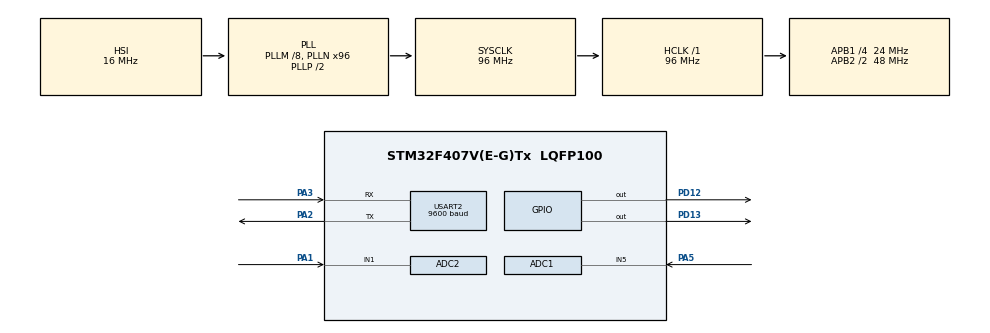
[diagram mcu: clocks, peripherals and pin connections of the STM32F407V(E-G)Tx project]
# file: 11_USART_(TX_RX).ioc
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ADC1.Channel-0\#ChannelRegularConversion=ADC_CHANNEL_VREFINT
ADC1.Channel-1\#ChannelRegularConversion=ADC_CHANNEL_5
ADC1.Channel-2\#ChannelRegularConversion=ADC_CHANNEL_TEMPSENSOR
ADC1.ContinuousConvMode=ENABLE
ADC1.DMAContinuousRequests=ENABLE
ADC1.NbrOfConversion=3
ADC1.NbrOfConversionFlag=1
ADC1.Rank-0\#ChannelRegularConversion=1
ADC1.Rank-1\#ChannelRegularConversion=2
ADC1.Rank-2\#ChannelRegularConversion=3
ADC1.SamplingTime-0\#ChannelRegularConversion=ADC_SAMPLETIME_480CYCLES
ADC1.SamplingTime-1\#ChannelRegularConversion=ADC_SAMPLETIME_480CYCLES
ADC1.SamplingTime-2\#ChannelRegularConversion=ADC_SAMPLETIME_480CYCLES
ADC1.ScanConvMode=ENABLE
ADC1.master=1
ADC2.Channel-0\#ChannelRegularConversion=ADC_CHANNEL_1
ADC2.ContinuousConvMode=ENABLE
ADC2.DMAContinuousRequests=ENABLE
ADC2.NbrOfConversionFlag=1
ADC2.Rank-0\#ChannelRegularConversion=1
ADC2.SamplingTime-0\#ChannelRegularConversion=ADC_SAMPLETIME_480CYCLES
Dma.ADC1.0.Direction=DMA_PERIPH_TO_MEMORY
Dma.ADC1.0.FIFOMode=DMA_FIFOMODE_DISABLE
Dma.ADC1.0.Instance=DMA2_Stream0
Dma.ADC1.0.MemDataAlignment=DMA_MDATAALIGN_HALFWORD
Dma.ADC1.0.MemInc=DMA_MINC_ENABLE
Dma.ADC1.0.Mode=DMA_CIRCULAR
Dma.ADC1.0.PeriphDataAlignment=DMA_PDATAALIGN_HALFWORD
Dma.ADC1.0.PeriphInc=DMA_PINC_DISABLE
Dma.ADC1.0.Priority=DMA_PRIORITY_LOW
Dma.ADC2.1.Direction=DMA_PERIPH_TO_MEMORY
Dma.ADC2.1.FIFOMode=DMA_FIFOMODE_DISABLE
Dma.ADC2.1.Instance=DMA2_Stream2
Dma.ADC2.1.MemDataAlignment=DMA_MDATAALIGN_HALFWORD
Dma.ADC2.1.MemInc=DMA_MINC_ENABLE
Dma.ADC2.1.Mode=DMA_CIRCULAR
Dma.ADC2.1.PeriphDataAlignment=DMA_PDATAALIGN_HALFWORD
Dma.ADC2.1.PeriphInc=DMA_PINC_DISABLE
Dma.ADC2.1.Priority=DMA_PRIORITY_LOW
Dma.Request0=ADC1
Dma.Request1=ADC2
Mcu.Family=STM32F4
Mcu.Name=STM32F407V(E-G)Tx
Mcu.Package=LQFP100
NVIC.DMA2_Stream0_IRQn=true\:0\:0\:false\:false\:true\:false
NVIC.DMA2_Stream2_IRQn=true\:0\:0\:false\:false\:true\:false
NVIC.PriorityGroup=NVIC_PRIORITYGROUP_4
NVIC.USART2_IRQn=true\:0\:0\:false\:false\:true\:true
PA1.Signal=ADCx_IN1
PA13.Mode=Serial_Wire
PA13.Signal=SYS_JTMS-SWDIO
PA14.Mode=Serial_Wire
PA14.Signal=SYS_JTCK-SWCLK
PA2.Mode=Asynchronous
PA2.Signal=USART2_TX
PA3.Mode=Asynchronous
PA3.Signal=USART2_RX
PA5.Signal=ADCx_IN5
PD12.Signal=GPIO_Output
PD13.Signal=GPIO_Output
ProjectManager.HeapSize=0x200
ProjectManager.StackSize=0x400
ProjectManager.TargetToolchain=MDK-ARM V5
RCC.48MHZClocksFreq_Value=48000000
RCC.AHBFreq_Value=96000000
RCC.APB1CLKDivider=RCC_HCLK_DIV4
RCC.APB1Freq_Value=24000000
RCC.APB1TimFreq_Value=48000000
RCC.APB2CLKDivider=RCC_HCLK_DIV2
RCC.APB2Freq_Value=48000000
RCC.APB2TimFreq_Value=96000000
RCC.CortexFreq_Value=96000000
RCC.HCLKFreq_Value=96000000
RCC.HSE_VALUE=25000000
RCC.HSI_VALUE=16000000
RCC.LSE_VALUE=32768
RCC.PLLM=8
RCC.PLLN=96
RCC.SYSCLKFreq_VALUE=96000000
RCC.SYSCLKSource=RCC_SYSCLKSOURCE_PLLCLK
RCC.VCOOutputFreq_Value=192000000
SH.ADCx_IN1.0=ADC2_IN1,IN1
SH.ADCx_IN5.0=ADC1_IN5,IN5
USART2.BaudRate=9600
USART2.VirtualMode=VM_ASYNC
VP_ADC1_TempSens_Input.Mode=IN-TempSens
VP_ADC1_Vref_Input.Mode=IN-Vrefint
board=11_USART_(TX_RX)

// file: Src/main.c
/**
  ******************************************************************************
  * File Name          : main.c
  * Description        : Main program body
  ******************************************************************************
  ** This notice applies to any and all portions of this file
  * that are not between comment pairs USER CODE BEGIN and
  * USER CODE END. Other portions of this file, whether
  * inserted by the user or by software development tools
  * are owned by their respective copyright owners.
  *
  * COPYRIGHT(c) 2018 STMicroelectronics
  *
  * Redistribution and use in source and binary forms, with or without modification,
  * are permitted provided that the following conditions are met:
  *   1. Redistributions of source code must retain the above copyright notice,
  *      this list of conditions and the following disclaimer.
  *   2. Redistributions in binary form must reproduce the above copyright notice,
  *      this list of conditions and the following disclaimer in the documentation
  *      and/or other materials provided with the distribution.
  *   3. Neither the name of STMicroelectronics nor the names of its contributors
  *      may be used to endorse or promote products derived from this software
  *      without specific prior written permission.
  *
  * THIS SOFTWARE IS PROVIDED BY THE COPYRIGHT HOLDERS AND CONTRIBUTORS "AS IS"
  * AND ANY EXPRESS OR IMPLIED WARRANTIES, INCLUDING, BUT NOT LIMITED TO, THE
  * IMPLIED WARRANTIES OF MERCHANTABILITY AND FITNESS FOR A PARTICULAR PURPOSE ARE
  * DISCLAIMED. IN NO EVENT SHALL THE COPYRIGHT HOLDER OR CONTRIBUTORS BE LIABLE
  * FOR ANY DIRECT, INDIRECT, INCIDENTAL, SPECIAL, EXEMPLARY, OR CONSEQUENTIAL
  * DAMAGES (INCLUDING, BUT NOT LIMITED TO, PROCUREMENT OF SUBSTITUTE GOODS OR
  * SERVICES; LOSS OF USE, DATA, OR PROFITS; OR BUSINESS INTERRUPTION) HOWEVER
  * CAUSED AND ON ANY THEORY OF LIABILITY, WHETHER IN CONTRACT, STRICT LIABILITY,
  * OR TORT (INCLUDING NEGLIGENCE OR OTHERWISE) ARISING IN ANY WAY OUT OF THE USE
  * OF THIS SOFTWARE, EVEN IF ADVISED OF THE POSSIBILITY OF SUCH DAMAGE.
  *
  ******************************************************************************
  */
#include "main.h"
#include "stm32f4xx_hal.h"
#include "stdio.h"            // bunuda ekledik ve neden ?
/* USER CODE BEGIN Includes */
// ADC KISMI:

#define VREFIN_Cal ((uint16_t*)((uint32_t)0x1FFF7A2A)) // Vrefin calibration degeri memoriden okunur
#define V25 (float)0.76     // volt
#define avg_slope (float) 0.0025   //    volt/Centigrade

uint16_t adc1_data[3],adc2_data[1];

float Vref=0,Vadc1_ch5=0,Vsense=0, temperature=0,Vadc2_ch1=0;

/* USER CODE END Includes */

ADC_HandleTypeDef hadc1;
ADC_HandleTypeDef hadc2;
DMA_HandleTypeDef hdma_adc1;
DMA_HandleTypeDef hdma_adc2;

UART_HandleTypeDef huart2;

/* USER CODE BEGIN PV */
/* Private variables ---------------------------------------------------------*/

/* USER CODE END PV */

void SystemClock_Config(void);
static void MX_GPIO_Init(void);
static void MX_DMA_Init(void);
static void MX_ADC1_Init(void);
static void MX_ADC2_Init(void);
static void MX_USART2_UART_Init(void);

/* USER CODE BEGIN PFP */
/* Private function prototypes -----------------------------------------------*/

// STM32 için printf ayari:   --bunu yazmamiz gerek dedi.....
 // bunu yazip printf ile uart i kullanip verileri gönderebiliyoruz..
 #ifdef __GNUC__

 #define PUTCHAR_PROTOTYPE int __io_putchar(int ch)
 #else
 #define PUTCHAR_PROTOTYPE int fputc(int ch,FILE *f)
 #endif /* __GNUC__ */
 /**
 * @brief Retargets the C library printf func. to the USART
 * @param None
 * @retval None
 */
 PUTCHAR_PROTOTYPE
 {
	/* Place your implementation of fputc here */
 /* e.g. write a character to the USART */

	 // hangisi kullanilacak ise o aktif edilir :
 HAL_UART_Transmit(&huart2,(uint8_t*)&ch,1,1000); // alttaki interrupt ile idi . bu normal mod
//   HAL_UART_Transmit_IT(&huart2,(uint8_t*)&ch,1);   // IT aktif suan
//	 HAL_Delay(10);  // bunu kullandik simdi normal modu kullanicaz
	 //  ch: 8 bitlik data  , 1 olmasi ise: 1 er 1er alip döndürüyor
	 //karakterleri birer birer alip okuyacak
	 // size 1

	 return ch;

 }

 // Yukardaki kodu aktif edince printf aktif oldu...........

 // ADC için :

 void HAL_ADC_ConvCpltCallback(ADC_HandleTypeDef* hadc)
 {
		Vref=(float)3.3*(*VREFIN_Cal)/adc1_data[0];
	  Vadc1_ch5=Vref*adc1_data[1]/4095;
	  Vsense=Vref*adc1_data[2]/4095;
    Vadc2_ch1=Vref*adc2_data[0]/4095;

		temperature=(Vsense-V25)/avg_slope+25;

 }

 // uart Tx Kismi :

 // Herbir data iletildiginde Pin toggle olucak :) intterpt ile :)
 //  tx complete call back ine dallaniyor
 // normal mod da yok :=>
// void HAL_UART_TxCpltCallback(UART_HandleTypeDef *huart)
// {
//  if (huart->Instance==USART2)
//		HAL_GPIO_TogglePin(GPIOD,GPIO_PIN_12);

// }

//  void HAL_UART_RxCpltCallback(UART_HandleTypeDef *huart)
//  {
//
//  if( __HAL_UART_GET_FLAG(&huart2, UART_FLAG_TC)!=RESET )
//	{
//			// __HAL_UART_CLEAR_FLAG(&huart2,UART_FLAG_TC);
//
//		HAL_GPIO_TogglePin(GPIOD,GPIO_PIN_13);
//	}
//
//
// }

/* USER CODE END PFP */

int main(void)
{

  /* MCU Configuration----------------------------------------------------------*/

  /* Reset of all peripherals, Initializes the Flash interface and the Systick. */
  HAL_Init();

  /* Configure the system clock */
  SystemClock_Config();

  /* Initialize all configured peripherals */
  MX_GPIO_Init();
  MX_DMA_Init();
  MX_ADC1_Init();
  MX_ADC2_Init();
  MX_USART2_UART_Init();

  /* USER CODE BEGIN 2 */
HAL_ADC_Start_DMA(&hadc1,(uint32_t*)adc1_data,3); // start ettik.
HAL_ADC_Start_DMA(&hadc2,(uint32_t*)adc2_data,1);

  /* USER CODE END 2 */
printf(""); // yukardaki kod ile printf aktif oldu . onun ile gönderebiliyoruz verileri.
printf("\nVref\r\t"); // printf ile veriler gönderiliyor..
printf("Vadc1\r\t");
printf("Vadc2\r\t");
printf("Vsense\r\t");
printf("Temp\r\t\n");

  /* Infinite loop */
  while (1)
  {

		printf("%4.2f\r\t",Vref);
		printf("%4.2f\r\t",Vadc1_ch5);
		printf("%4.2f\r\t",Vadc2_ch1);
		printf("%4.2f\r\t",Vsense);
		printf("%4.2f\r\t\n",temperature);
		HAL_Delay(1000);

  }

}

/** System Clock Configuration
*/
void SystemClock_Config(void)
{

  RCC_OscInitTypeDef RCC_OscInitStruct;
  RCC_ClkInitTypeDef RCC_ClkInitStruct;

    /**Configure the main internal regulator output voltage
    */
  __HAL_RCC_PWR_CLK_ENABLE();

  __HAL_PWR_VOLTAGESCALING_CONFIG(PWR_REGULATOR_VOLTAGE_SCALE1);

    /**Initializes the CPU, AHB and APB busses clocks
    */
  RCC_OscInitStruct.OscillatorType = RCC_OSCILLATORTYPE_HSI;
  RCC_OscInitStruct.HSIState = RCC_HSI_ON;
  RCC_OscInitStruct.HSICalibrationValue = 16;
  RCC_OscInitStruct.PLL.PLLState = RCC_PLL_ON;
  RCC_OscInitStruct.PLL.PLLSource = RCC_PLLSOURCE_HSI;
  RCC_OscInitStruct.PLL.PLLM = 8;
  RCC_OscInitStruct.PLL.PLLN = 96;
  RCC_OscInitStruct.PLL.PLLP = RCC_PLLP_DIV2;
  RCC_OscInitStruct.PLL.PLLQ = 4;
  if (HAL_RCC_OscConfig(&RCC_OscInitStruct) != HAL_OK)
  {
    _Error_Handler(__FILE__, __LINE__);
  }

    /**Initializes the CPU, AHB and APB busses clocks
    */
  RCC_ClkInitStruct.ClockType = RCC_CLOCKTYPE_HCLK|RCC_CLOCKTYPE_SYSCLK
                              |RCC_CLOCKTYPE_PCLK1|RCC_CLOCKTYPE_PCLK2;
  RCC_ClkInitStruct.SYSCLKSource = RCC_SYSCLKSOURCE_PLLCLK;
  RCC_ClkInitStruct.AHBCLKDivider = RCC_SYSCLK_DIV1;
  RCC_ClkInitStruct.APB1CLKDivider = RCC_HCLK_DIV4;
  RCC_ClkInitStruct.APB2CLKDivider = RCC_HCLK_DIV2;

  if (HAL_RCC_ClockConfig(&RCC_ClkInitStruct, FLASH_LATENCY_3) != HAL_OK)
  {
    _Error_Handler(__FILE__, __LINE__);
  }

    /**Configure the Systick interrupt time
    */
  HAL_SYSTICK_Config(HAL_RCC_GetHCLKFreq()/1000);

    /**Configure the Systick
    */
  HAL_SYSTICK_CLKSourceConfig(SYSTICK_CLKSOURCE_HCLK);

  /* SysTick_IRQn interrupt configuration */
  HAL_NVIC_SetPriority(SysTick_IRQn, 0, 0);
}

/* ADC1 init function */
static void MX_ADC1_Init(void)
{

  ADC_ChannelConfTypeDef sConfig;

    /**Configure the global features of the ADC (Clock, Resolution, Data Alignment and number of conversion)
    */
  hadc1.Instance = ADC1;
  hadc1.Init.ClockPrescaler = ADC_CLOCK_SYNC_PCLK_DIV2;
  hadc1.Init.Resolution = ADC_RESOLUTION_12B;
  hadc1.Init.ScanConvMode = ENABLE;
  hadc1.Init.ContinuousConvMode = ENABLE;
  hadc1.Init.DiscontinuousConvMode = DISABLE;
  hadc1.Init.ExternalTrigConvEdge = ADC_EXTERNALTRIGCONVEDGE_NONE;
  hadc1.Init.ExternalTrigConv = ADC_SOFTWARE_START;
  hadc1.Init.DataAlign = ADC_DATAALIGN_RIGHT;
  hadc1.Init.NbrOfConversion = 3;
  hadc1.Init.DMAContinuousRequests = ENABLE;
  hadc1.Init.EOCSelection = ADC_EOC_SINGLE_CONV;
  if (HAL_ADC_Init(&hadc1) != HAL_OK)
  {
    _Error_Handler(__FILE__, __LINE__);
  }

    /**Configure for the selected ADC regular channel its corresponding rank in the sequencer and its sample time.
    */
  sConfig.Channel = ADC_CHANNEL_VREFINT;
  sConfig.Rank = 1;
  sConfig.SamplingTime = ADC_SAMPLETIME_480CYCLES;
  if (HAL_ADC_ConfigChannel(&hadc1, &sConfig) != HAL_OK)
  {
    _Error_Handler(__FILE__, __LINE__);
  }

    /**Configure for the selected ADC regular channel its corresponding rank in the sequencer and its sample time.
    */
  sConfig.Channel = ADC_CHANNEL_5;
  sConfig.Rank = 2;
  if (HAL_ADC_ConfigChannel(&hadc1, &sConfig) != HAL_OK)
  {
    _Error_Handler(__FILE__, __LINE__);
  }

    /**Configure for the selected ADC regular channel its corresponding rank in the sequencer and its sample time.
    */
  sConfig.Channel = ADC_CHANNEL_TEMPSENSOR;
  sConfig.Rank = 3;
  if (HAL_ADC_ConfigChannel(&hadc1, &sConfig) != HAL_OK)
  {
    _Error_Handler(__FILE__, __LINE__);
  }

}

/* ADC2 init function */
static void MX_ADC2_Init(void)
{

  ADC_ChannelConfTypeDef sConfig;

    /**Configure the global features of the ADC (Clock, Resolution, Data Alignment and number of conversion)
    */
  hadc2.Instance = ADC2;
  hadc2.Init.ClockPrescaler = ADC_CLOCK_SYNC_PCLK_DIV2;
  hadc2.Init.Resolution = ADC_RESOLUTION_12B;
  hadc2.Init.ScanConvMode = DISABLE;
  hadc2.Init.ContinuousConvMode = ENABLE;
  hadc2.Init.DiscontinuousConvMode = DISABLE;
  hadc2.Init.ExternalTrigConvEdge = ADC_EXTERNALTRIGCONVEDGE_NONE;
  hadc2.Init.ExternalTrigConv = ADC_SOFTWARE_START;
  hadc2.Init.DataAlign = ADC_DATAALIGN_RIGHT;
  hadc2.Init.NbrOfConversion = 1;
  hadc2.Init.DMAContinuousRequests = ENABLE;
  hadc2.Init.EOCSelection = ADC_EOC_SINGLE_CONV;
  if (HAL_ADC_Init(&hadc2) != HAL_OK)
  {
    _Error_Handler(__FILE__, __LINE__);
  }

    /**Configure for the selected ADC regular channel its corresponding rank in the sequencer and its sample time.
    */
  sConfig.Channel = ADC_CHANNEL_1;
  sConfig.Rank = 1;
  sConfig.SamplingTime = ADC_SAMPLETIME_480CYCLES;
  if (HAL_ADC_ConfigChannel(&hadc2, &sConfig) != HAL_OK)
  {
    _Error_Handler(__FILE__, __LINE__);
  }

}

/* USART2 init function */
static void MX_USART2_UART_Init(void)
{

  huart2.Instance = USART2;
  huart2.Init.BaudRate = 9600;
  huart2.Init.WordLength = UART_WORDLENGTH_8B;
  huart2.Init.StopBits = UART_STOPBITS_1;
  huart2.Init.Parity = UART_PARITY_NONE;
  huart2.Init.Mode = UART_MODE_TX_RX;
  huart2.Init.HwFlowCtl = UART_HWCONTROL_NONE;
  huart2.Init.OverSampling = UART_OVERSAMPLING_16;
  if (HAL_UART_Init(&huart2) != HAL_OK)
  {
    _Error_Handler(__FILE__, __LINE__);
  }

}

static void MX_DMA_Init(void)
{
  /* DMA controller clock enable */
  __HAL_RCC_DMA2_CLK_ENABLE();

  /* DMA interrupt init */
  /* DMA2_Stream0_IRQn interrupt configuration */
  HAL_NVIC_SetPriority(DMA2_Stream0_IRQn, 0, 0);
  HAL_NVIC_EnableIRQ(DMA2_Stream0_IRQn);
  /* DMA2_Stream2_IRQn interrupt configuration */
  HAL_NVIC_SetPriority(DMA2_Stream2_IRQn, 0, 0);
  HAL_NVIC_EnableIRQ(DMA2_Stream2_IRQn);

}

/** Configure pins as
        * Analog
        * Input
        * Output
        * EVENT_OUT
        * EXTI
*/
static void MX_GPIO_Init(void)
{

  GPIO_InitTypeDef GPIO_InitStruct;

  /* GPIO Ports Clock Enable */
  __HAL_RCC_GPIOA_CLK_ENABLE();
  __HAL_RCC_GPIOD_CLK_ENABLE();

  /*Configure GPIO pin Output Level */
  HAL_GPIO_WritePin(GPIOD, GPIO_PIN_12|GPIO_PIN_13, GPIO_PIN_RESET);

  /*Configure GPIO pins : PD12 PD13 */
  GPIO_InitStruct.Pin = GPIO_PIN_12|GPIO_PIN_13;
  GPIO_InitStruct.Mode = GPIO_MODE_OUTPUT_PP;
  GPIO_InitStruct.Pull = GPIO_NOPULL;
  GPIO_InitStruct.Speed = GPIO_SPEED_FREQ_LOW;
  HAL_GPIO_Init(GPIOD, &GPIO_InitStruct);

}

void _Error_Handler(char * file, int line)
{
  while(1)
  {
  }
}

/************************ (C) COPYRIGHT STMicroelectronics *****END OF FILE****/
